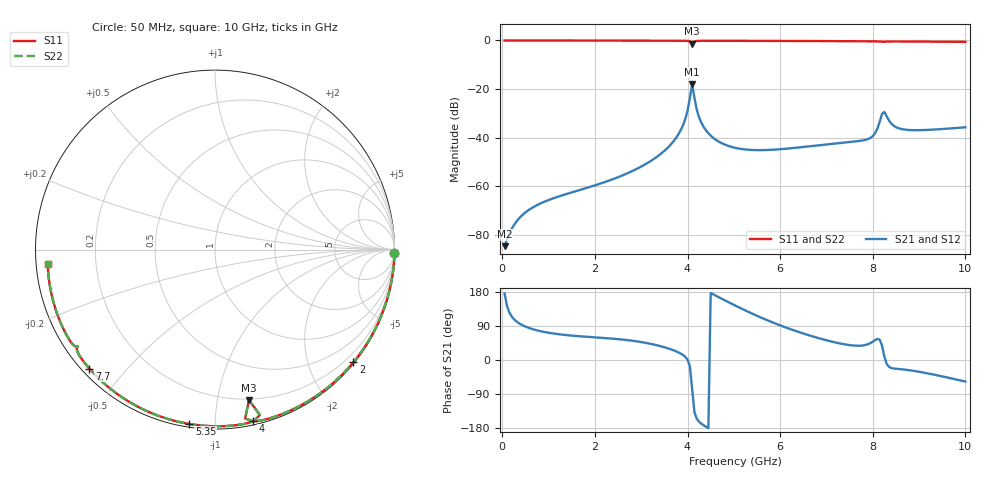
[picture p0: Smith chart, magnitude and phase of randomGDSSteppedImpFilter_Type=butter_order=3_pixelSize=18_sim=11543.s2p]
! freq	dB(S11)	phase(S11)	dB(S12)	phase(S12)
!  dB(S21)	phase(S21)	dB(S22)	phase(S22)
!S-par simulation data
#  GHz  S  DB  R 50
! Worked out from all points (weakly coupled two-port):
!   200 points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, 50 MHz to 10 GHz, reference 50 ohm
!   highest |S21| = -17.98 dB at 4.1 GHz (marker M1); lowest = -84.8 dB at 50 MHz (marker M2)
!   lowest |S11| = -1.3 dB at 4.1 GHz (marker M3), VSWR 13.26, Z = 9.59 - j61.6 ohm
!   |S11| at or under -10 dB: nowhere
!   |S22| runs from -1.3 to 0.0 dB; largest |S21 - S12| = 0
!   S11 on the Smith chart (normalised r, x): 50 MHz: open; 2 GHz: 0.03, -2.81; 4 GHz: 0.03, -1.24; 5.35 GHz: 0.02, -0.86; 7.7 GHz: 0.02, -0.40; 10 GHz: 0.03, -0.04
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0.05  -0.00 -1.0  -84.78 175.3  -84.78 175.3  -0.00 -1.0
0.15  -0.00 -3.0  -79.68 126.1  -79.68 126.1  -0.00 -3.0
0.35  -0.00 -7.0  -73.60 97.8  -73.60 97.8  -0.00 -7.0
0.65  -0.01 -12.9  -68.91 81.6  -68.91 81.6  -0.01 -12.9
1.75  -0.04 -34.4  -61.19 61.9  -61.19 61.9  -0.04 -34.4
2  -0.05 -39.1  -59.72 59.7  -59.72 59.7  -0.05 -39.1
3.4  -0.09 -65.2  -47.08 37.1  -47.08 37.1  -0.09 -65.2
3.8  -0.11 -72.8  -38.77 20.3  -38.77 20.3  -0.11 -72.8
4  -0.19 -77.6  -29.01 0.8  -29.01 0.8  -0.19 -77.6
4.1  -1.31 -77.3  -17.98 -78.0  -17.98 -78.0  -1.31 -77.3
4.2  -0.20 -77.0  -28.55 -155.0  -28.55 -155.0  -0.20 -77.0
4.4  -0.13 -81.7  -37.11 -176.3  -37.11 -176.3  -0.13 -81.7
4.65  -0.13 -86.4  -41.43 167.2  -41.43 167.2  -0.13 -86.4
5.05  -0.15 -93.3  -44.34 142.5  -44.34 142.5  -0.15 -93.3
5.35  -0.16 -98.3  -45.10 124.9  -45.10 124.9  -0.16 -98.3
6.7  -0.24 -120.4  -43.48 62.4  -43.48 62.4  -0.24 -120.4
7.7  -0.32 -136.6  -41.44 37.6  -41.44 37.6  -0.32 -136.6
8  -0.36 -141.6  -39.43 48.4  -39.43 48.4  -0.36 -141.6
8.25  -0.57 -144.7  -29.48 9.0  -29.48 9.0  -0.57 -144.7
8.35  -0.43 -146.2  -33.01 -18.1  -33.01 -18.1  -0.43 -146.2
8.75  -0.42 -153.2  -36.87 -26.3  -36.87 -26.3  -0.42 -153.2
10  -0.58 -175.0  -35.78 -56.9  -35.78 -56.9  -0.58 -175.0
